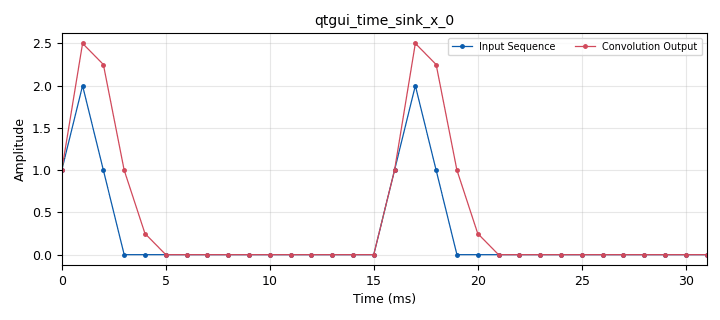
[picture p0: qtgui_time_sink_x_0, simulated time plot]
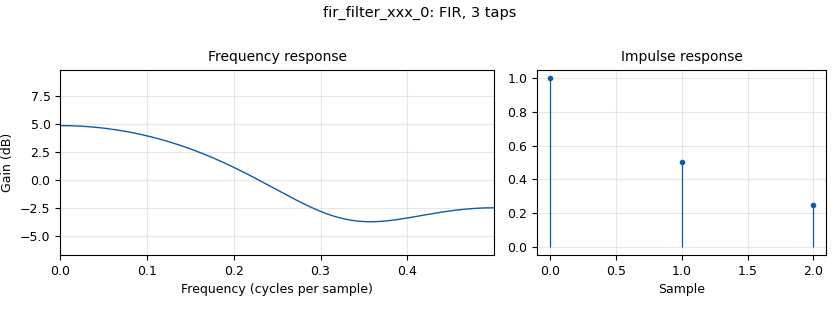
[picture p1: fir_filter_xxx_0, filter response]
options:
  parameters:
    generate_options: qt_gui
    id: exp6
    output_language: python
    title: Convolution of Two Simple Sequences
  states: {}

blocks:
- name: samp_rate
  id: variable
  parameters:
    value: '1000'
  states: {}
- name: blocks_vector_source_x_0
  id: blocks_vector_source_x
  parameters:
    repeat: 'True'
    type: float
    vector: (1, 2, 1, 0, 0, 0, 0, 0, 0, 0, 0, 0, 0, 0, 0, 0)
  states: {}
- name: fir_filter_xxx_0
  id: fir_filter_xxx
  parameters:
    decim: '1'
    taps: ' (1, 0.5, 0.25)'
    type: fff
  states: {}
- name: qtgui_time_sink_x_0
  id: qtgui_time_sink_x
  parameters:
    autoscale: 'True'
    grid: 'True'
    label1: Input Sequence
    label2: Convolution Output
    marker1: '0'
    marker2: '0'
    nconnections: '2'
    size: '32'
    srate: samp_rate
    style1: '3'
    style2: '3'
    type: float
  states: {}

connections:
- [blocks_vector_source_x_0, '0', fir_filter_xxx_0, '0']
- [blocks_vector_source_x_0, '0', qtgui_time_sink_x_0, '0']
- [fir_filter_xxx_0, '0', qtgui_time_sink_x_0, '1']

metadata:
  file_format: 1
  grc_version: 3.10.12.0
